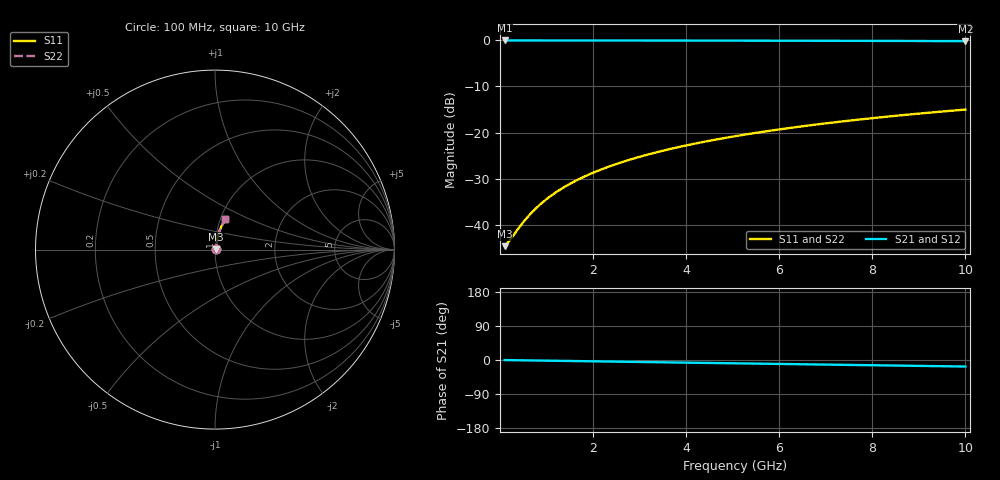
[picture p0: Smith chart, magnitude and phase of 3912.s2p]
# Hz S RI R 50.00
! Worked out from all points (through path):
!   100 points, 100 MHz to 10 GHz, reference 50 ohm
!   highest |S21| = -0.05 dB at 100 MHz (marker M1); lowest = -0.2 dB at 10 GHz (marker M2)
!   group delay of S21, straight-line fit = 4.79 ps
!   lowest |S11| = -44.5 dB at 100 MHz (marker M3), VSWR 1.01, Z = 50.6 + j0.183 ohm
!   |S11| at or under -10 dB: start of sweep to end of sweep
!   |S22| runs from -44.5 to -15.0 dB; largest |S21 - S12| = 0
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1e8  0.00565 0.00181  0.9943 -0.00301  0.9943 -0.00301  0.00565 0.00181
2e8  0.00571 0.00361  0.9943 -0.00603  0.9943 -0.00603  0.00571 0.00361
4e8  0.00582 0.00722  0.9942 -0.0121  0.9942 -0.0121  0.00582 0.00722
5e8  0.00589 0.00902  0.9941 -0.0151  0.9941 -0.0151  0.00589 0.00902
6e8  0.00596 0.0108  0.994 -0.0181  0.994 -0.0181  0.00596 0.0108
7e8  0.00605 0.0126  0.9939 -0.0211  0.9939 -0.0211  0.00605 0.0126
9e8  0.00625 0.0162  0.9937 -0.0271  0.9937 -0.0271  0.00625 0.0162
1.1e9  0.00649 0.0198  0.9934 -0.0331  0.9934 -0.0331  0.00649 0.0198
1.3e9  0.00677 0.0234  0.9931 -0.0391  0.9931 -0.0391  0.00677 0.0234
1.5e9  0.0071 0.027  0.9927 -0.0452  0.9927 -0.0452  0.0071 0.027
1.8e9  0.00766 0.0324  0.9921 -0.0542  0.9921 -0.0542  0.00766 0.0324
2.1e9  0.00832 0.0378  0.9913 -0.0632  0.9913 -0.0632  0.00832 0.0378
2.5e9  0.00935 0.0449  0.9902 -0.0751  0.9902 -0.0751  0.00935 0.0449
2.9e9  0.0106 0.052  0.9888 -0.0871  0.9888 -0.0871  0.0106 0.052
3.4e9  0.0123 0.0608  0.9868 -0.102  0.9868 -0.102  0.0123 0.0608
4.2e9  0.0156 0.0748  0.983 -0.1256  0.983 -0.1256  0.0156 0.0748
5.1e9  0.0201 0.0903  0.9779 -0.152  0.9779 -0.152  0.0201 0.0903
5.9e9  0.0249 0.1038  0.9725 -0.1753  0.9725 -0.1753  0.0249 0.1038
6.7e9  0.0302 0.1171  0.9664 -0.1982  0.9664 -0.1982  0.0302 0.1171
7.5e9  0.0362 0.13  0.9596 -0.2209  0.9596 -0.2209  0.0362 0.13
8.4e9  0.0436 0.1441  0.9511 -0.246  0.9511 -0.246  0.0436 0.1441
1e10  0.0585 0.1681  0.934 -0.2895  0.934 -0.2895  0.0585 0.1681
